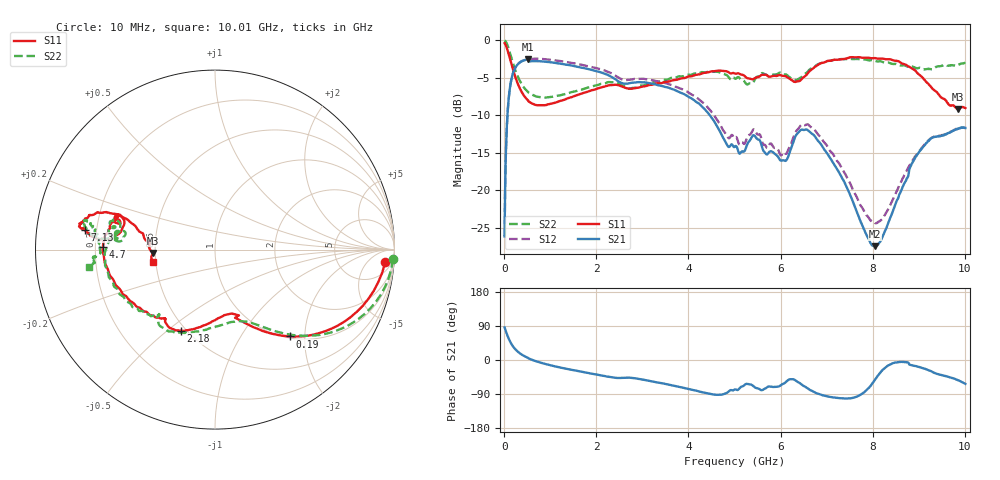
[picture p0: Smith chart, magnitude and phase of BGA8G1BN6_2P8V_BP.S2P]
!Agilent Technologies,E5071C,MY46317100,A.11.08
!Date: Tue Jan 31 20:44:21 2017
!Data & Calibration Information:
!Freq	S11:SOLT2(ON)	S21:SOLT2(ON)	S12:SOLT2(ON)	S22:SOLT2(ON)
!PortZ  Port1:50+j0  Port2:50+j0
!Above PortZ is port z conversion or system Z0 setting when saving the data.
!When reading, reference impedance value at option line is always used.
# Hz S dB R 50
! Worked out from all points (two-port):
!   1001 points, 10 MHz to 10.01 GHz, reference 50 ohm
!   highest |S21| = -2.58 dB at 520 MHz (marker M1); lowest = -27.5 dB at 8.05 GHz (marker M2)
!   |S21| within 3 dB of the highest: 147.1 MHz to 2.496 GHz (2.349 GHz wide, 178 % of centre)
!   lowest |S11| = -9.2 dB at 9.85 GHz (marker M3), VSWR 2.05, Z = 24.4 - j1.03 ohm
!   |S11| at or under -10 dB: nowhere
!   |S22| runs from -7.7 to -0.1 dB; largest |S21 - S12| = 0.036
!   S11 on the Smith chart (normalised r, x): 10 MHz: 13, -19; 190 MHz: 1.03, -1.69; 2.18 GHz: 0.47, -0.56; 4.7 GHz: 0.23, +0.01; 7.13 GHz: 0.15, +0.07; 10.01 GHz: 0.48, -0.07
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1e7  -0.43 -4.0  -26.18 86.1  -26.23 86.1  -0.06 -3.1
9e7  -1.69 -29.3  -8.39 58.8  -8.39 58.9  -1.01 -25.5
1.9e8  -3.88 -49.1  -4.47 36.2  -4.46 36.3  -3.06 -43.1
3.3e8  -6.31 -63.5  -3.04 18.6  -3.03 18.7  -5.31 -55.3
5.2e8  -8.04 -73.6  -2.58 5.5  -2.56 5.5  -6.94 -64.4
1e9  -8.50 -84.3  -2.96 -13.8  -2.63 -13.0  -7.59 -81.9
1.68e9  -7.14 -100.8  -3.69 -31.1  -3.30 -30.1  -6.61 -102.9
2.18e9  -6.20 -112.7  -4.50 -42.4  -4.06 -41.1  -5.78 -117.3
3.35e9  -5.76 -135.7  -6.03 -59.6  -5.53 -58.5  -5.54 -138.7
4.22e9  -4.60 -162.5  -8.44 -82.6  -7.87 -80.3  -4.46 -162.6
4.7e9  -4.08 178.5  -12.38 -91.8  -11.41 -88.7  -4.35 179.2
5.01e9  -4.48 168.8  -14.20 -77.6  -12.98 -77.2  -5.15 173.1
5.43e9  -5.13 165.0  -12.72 -71.2  -11.93 -71.8  -5.40 175.1
6.03e9  -4.75 160.8  -16.06 -64.4  -15.25 -63.5  -4.50 164.4
6.41e9  -5.46 169.0  -12.15 -60.5  -11.60 -59.3  -5.12 171.0
6.68e9  -3.90 174.8  -12.49 -81.4  -11.73 -79.4  -3.75 174.3
7.13e9  -2.68 171.3  -16.27 -98.5  -15.14 -95.1  -2.67 170.1
8.05e9  -2.41 168.4  -27.46 -52.0  -24.39 -56.3  -2.79 167.6
8.35e9  -2.56 166.6  -24.15 -13.4  -22.35 -24.4  -3.02 168.8
9e9  -4.57 160.4  -14.96 -18.2  -14.83 -19.9  -3.73 175.1
9.85e9  -9.24 -176.9  -11.84 -53.2  -11.75 -54.5  -3.33 -173.6
1.001e10  -9.06 -169.0  -11.72 -62.9  -11.73 -63.8  -3.01 -171.9
